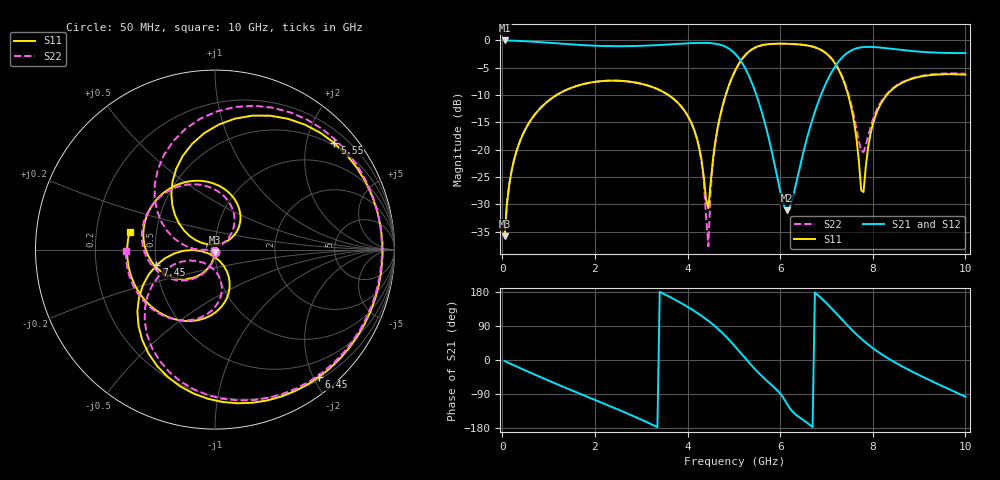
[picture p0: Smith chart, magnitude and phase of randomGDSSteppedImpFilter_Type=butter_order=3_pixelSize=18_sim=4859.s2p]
! freq	dB(S11)	phase(S11)	dB(S12)	phase(S12)
!  dB(S21)	phase(S21)	dB(S22)	phase(S22)
!S-par simulation data
#  GHz  S  DB  R 50
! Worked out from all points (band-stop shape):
!   200 points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, 50 MHz to 10 GHz, reference 50 ohm
!   highest |S21| = 0.00 dB at 50 MHz (marker M1); lowest = -31.1 dB at 6.15 GHz (marker M2)
!   |S21| within 3 dB of the highest: start of sweep to 5.085 GHz; 7.351 GHz to end of sweep
!   lowest |S11| = -35.9 dB at 50 MHz (marker M3), VSWR 1.03, Z = 49.9 - j1.6 ohm
!   |S11| at or under -10 dB: start of sweep to 1.173 GHz; 3.587 GHz to 4.824 GHz (1.237 GHz wide, 29.4 % of centre); 7.468 GHz to 8.302 GHz (833.6 MHz wide, 10.6 % of centre)
!   |S22| runs from -37.7 to -0.6 dB; largest |S21 - S12| = 0
!   S11 on the Smith chart (normalised r, x): 50 MHz: 1.00, -0.03; 5.55 GHz: 0.44, +2.56; 6.45 GHz: 0.23, -2.08; 7.45 GHz: 0.50, -0.10; 10 GHz: 0.35, +0.09
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0.05  -35.89 -92.8  -0.00 -2.8  -0.00 -2.8  -35.89 -92.6
0.2  -23.91 -101.7  -0.04 -11.2  -0.04 -11.2  -23.91 -101.1
0.5  -16.24 -118.9  -0.14 -27.6  -0.14 -27.6  -16.24 -117.4
1.75  -7.99 173.8  -0.87 -92.7  -0.87 -92.7  -7.99 179.5
3.4  -9.10 84.4  -0.83 179.9  -0.83 179.9  -9.10 95.4
4.15  -16.53 38.6  -0.47 129.1  -0.47 129.1  -16.60 47.6
4.3  -21.78 35.2  -0.44 116.7  -0.44 116.7  -22.12 38.7
4.45  -30.72 110.6  -0.47 103.3  -0.47 103.3  -37.67 144.2
4.5  -25.96 144.5  -0.50 98.5  -0.50 98.5  -27.51 -180.0
4.6  -18.51 154.0  -0.59 88.3  -0.59 88.3  -18.84 178.3
5.05  -5.16 109.0  -2.64 32.6  -2.64 32.6  -5.22 125.5
5.55  -1.00 41.7  -11.61 -36.0  -11.61 -36.0  -1.04 54.7
6.15  -0.61 -22.0  -31.09 -116.3  -31.09 -116.3  -0.64 -13.3
6.45  -0.76 -50.9  -22.30 -154.1  -22.30 -154.1  -0.78 -44.0
6.7  -1.13 -76.3  -14.37 -176.8  -14.37 -176.8  -1.14 -70.3
7.1  -3.25 -122.5  -5.98 137.5  -5.98 137.5  -3.21 -116.6
7.45  -9.43 -165.1  -2.28 91.9  -2.28 91.9  -9.11 -154.5
7.8  -27.76 -93.0  -1.22 51.0  -1.22 51.0  -20.44 -110.9
8  -15.38 -63.2  -1.20 31.5  -1.20 31.5  -14.58 -79.5
8.35  -9.54 -86.2  -1.48 2.9  -1.48 2.9  -9.37 -93.1
9.15  -6.45 -138.1  -2.14 -48.7  -2.14 -48.7  -6.34 -136.8
10  -6.27 168.0  -2.32 -96.9  -2.32 -96.9  -6.10 -178.9
